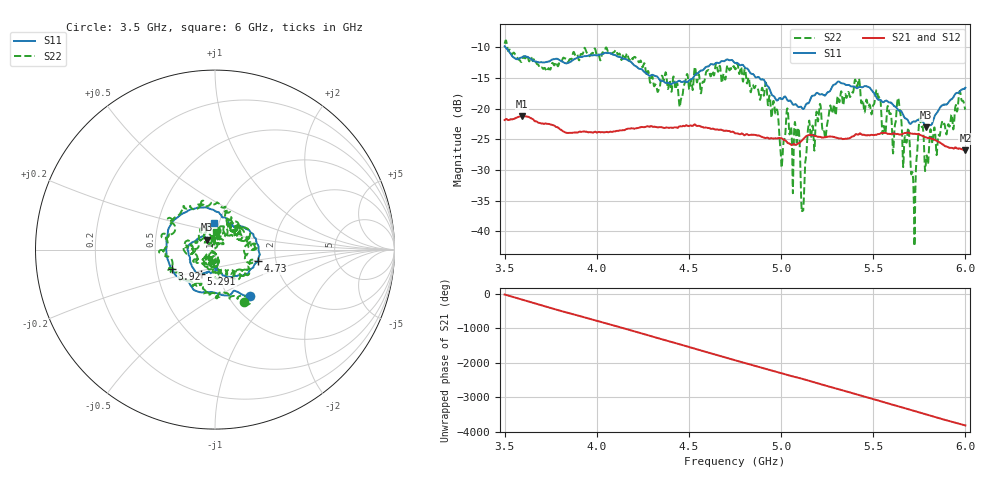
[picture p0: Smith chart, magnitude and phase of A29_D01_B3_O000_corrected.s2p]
! Created with skrf 1.9.0 (http://scikit-rf.org).
# Hz S RI R 50.0
!freq ReS11 ImS11 ReS21 ImS21 ReS12 ImS12 ReS22 ImS22
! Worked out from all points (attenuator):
!   1601 points, 3.5 GHz to 6 GHz, reference 50 ohm
!   highest |S21| = -21.22 dB at 3.592 GHz (marker M1); lowest = -26.8 dB at 6 GHz (marker M2)
!   lowest |S11| = -23.0 dB at 5.787 GHz (marker M3), VSWR 1.15, Z = 45.6 + j5.09 ohm
!   |S11| at or under -10 dB: 3.504 GHz to end of sweep
!   |S22| runs from -42.4 to -8.9 dB; largest |S21 - S12| = 0.0013
!   S11 on the Smith chart (normalised r, x): 3.5 GHz: 1.25, -0.72; 3.92 GHz: 0.60, -0.14; 4.73 GHz: 1.62, -0.22; 5.291 GHz: 0.83, -0.23; 6 GHz: 0.94, +0.28
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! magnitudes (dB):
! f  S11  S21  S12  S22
! 3.5 GHz  -9.9  -21.9  -21.9  -9.4
! 3.592 GHz  -11.7  -21.2  -21.2  -12.4
! 3.917 GHz  -11.6  -23.8  -23.8  -11.1
! 3.92 GHz  -11.6  -23.8  -23.8  -11.2
! 4.334 GHz  -15.0  -23.1  -23.0  -17.1
! 4.73 GHz  -12.1  -23.8  -23.7  -13.5
! 4.75 GHz  -12.6  -24.0  -24.0  -13.6
! 4.925 GHz  -16.3  -24.7  -24.7  -18.1
! 5.003 GHz  -18.5  -24.9  -24.9  -29.6
! 5.086 GHz  -19.5  -25.8  -25.8  -25.5
! 5.117 GHz  -20.0  -25.1  -25.0  -36.4
! 5.144 GHz  -19.2  -24.4  -24.3  -24.2
! 5.167 GHz  -18.0  -24.3  -24.3  -23.4
! 5.291 GHz  -16.1  -24.7  -24.7  -20.0
! 5.412 GHz  -16.7  -24.2  -24.2  -16.4
! 5.584 GHz  -19.0  -24.1  -24.1  -20.2
! 5.611 GHz  -19.5  -24.0  -24.0  -25.9
! 5.641 GHz  -20.4  -24.3  -24.2  -19.3
! 5.717 GHz  -22.1  -24.1  -24.1  -31.9
! 5.756 GHz  -22.0  -24.3  -24.3  -22.2
! 5.787 GHz  -23.0  -24.7  -24.7  -28.0
! 6 GHz  -16.6  -26.8  -26.7  -20.2
